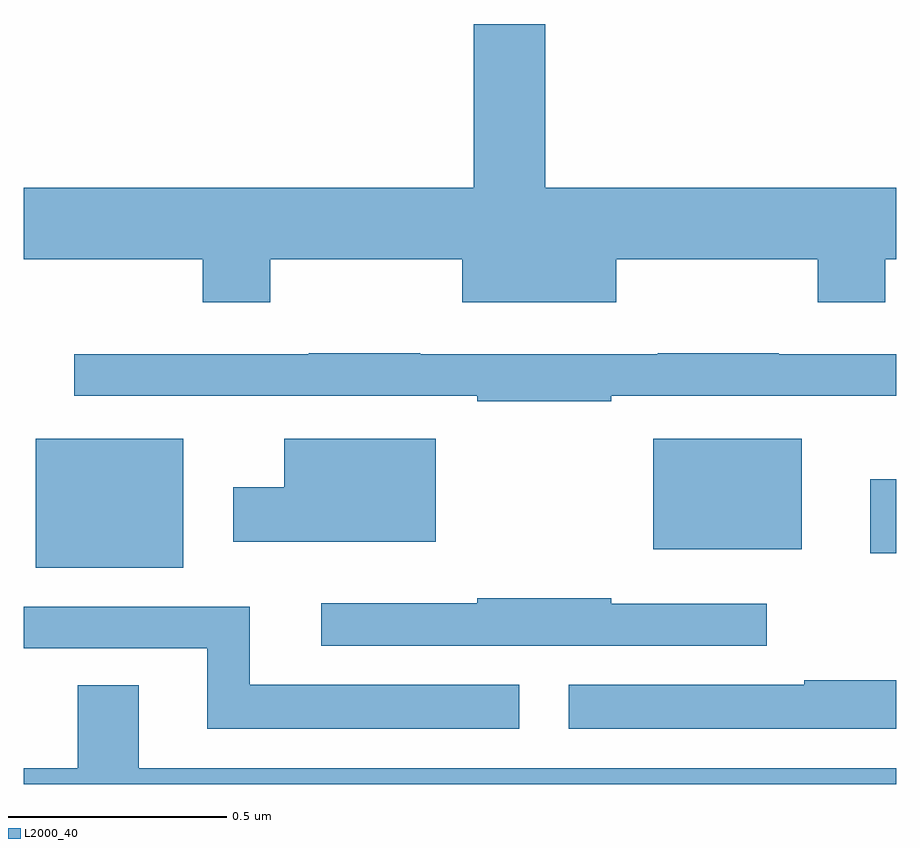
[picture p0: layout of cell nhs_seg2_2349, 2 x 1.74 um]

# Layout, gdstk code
import gdstk
lib = gdstk.Library(unit=1e-6, precision=1e-09)
def R(c, l, rs):  # rectangles x0, y0, x1, y1
    for r in rs: c.add(gdstk.rectangle(r[:2], r[2:], *l))
def P(c, l, *ps):  # polygons
    for p in ps: c.add(gdstk.Polygon(p, *l))
L2000_40 = (2000, 40)

nhs_seg2_2349 = lib.new_cell('nhs_seg2_2349')
R(nhs_seg2_2349, L2000_40, [(140.027,612.296,140.365,612.592), (141.941,612.329,142,612.499), (141.443,612.338,141.784,612.592)])
P(nhs_seg2_2349, L2000_40, [(140.565,613.004),(141.005,613.004),(141.005,612.905),(141.358,612.905),(141.358,613.004),(141.82,613.004),(141.82,612.905),(141.975,612.905),(141.975,613.004),(142,613.004),(142,613.168),(141.196,613.168),(141.196,613.543),(141.032,613.543),(141.032,613.168),(140,613.168),(140,613.004),(140.41,613.004),(140.41,612.905),(140.565,612.905)],
  [(141.347,612.69),(142,612.69),(142,612.786),(141.731,612.786),(141.731,612.788),(141.454,612.788),(141.454,612.786),(140.909,612.786),(140.909,612.788),(140.653,612.788),(140.653,612.786),(140.115,612.786),(140.115,612.69),(141.04,612.69),(141.04,612.678),(141.347,612.678)],
  [(140.944,612.592),(140.597,612.592),(140.597,612.481),(140.48,612.481),(140.48,612.356),(140.944,612.356)],
  [(141.703,612.213),(141.347,612.213),(141.347,612.226),(141.04,612.226),(141.04,612.214),(140.682,612.214),(140.682,612.117),(141.703,612.117)],
  [(141.136,612.028),(140.518,612.028),(140.518,612.207),(140,612.207),(140,612.111),(140.42,612.111),(140.42,611.927),(141.136,611.927)],
  [(142,612.038),(141.79,612.038),(141.79,612.028),(141.249,612.028),(141.249,611.927),(142,611.927)],
  [(142,611.836),(140.263,611.836),(140.263,612.026),(140.123,612.026),(140.123,611.836),(140,611.836),(140,611.8),(142,611.8)])

lib.write_gds('nhs_seg2_2349.gds')
